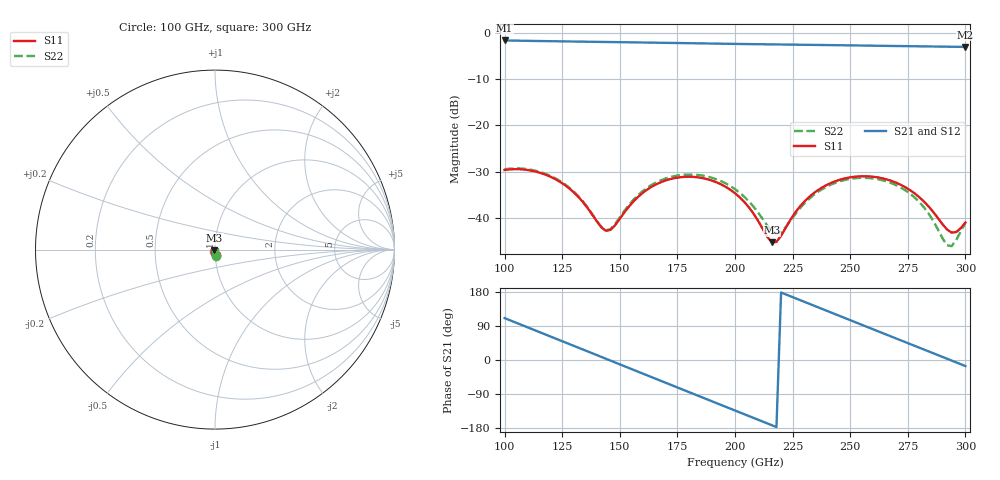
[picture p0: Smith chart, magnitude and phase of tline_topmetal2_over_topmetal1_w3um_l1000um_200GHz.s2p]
#  GHZ S DB R 50
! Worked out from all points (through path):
!   101 points, 100 GHz to 300 GHz, reference 50 ohm
!   highest |S21| = -1.65 dB at 100 GHz (marker M1); lowest = -3.0 dB at 300 GHz (marker M2)
!   group delay of S21, straight-line fit = 6.76 ps
!   lowest |S11| = -45.3 dB at 216 GHz (marker M3), VSWR 1.01, Z = 49.6 - j0.395 ohm
!   |S11| at or under -10 dB: start of sweep to end of sweep
!   |S22| runs from -46.1 to -29.3 dB; largest |S21 - S12| = 9e-14
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100  -29.67 -82.4  -1.65 110.6  -1.65 110.6  -29.51 -82.3
108  -29.54 -100.7  -1.71 91.1  -1.71 91.1  -29.38 -100.5
116  -30.36 -118.2  -1.78 71.5  -1.78 71.5  -30.19 -118.0
126  -32.87 -137.4  -1.85 47.1  -1.85 47.1  -32.70 -137.2
134  -36.60 -146.1  -1.91 27.6  -1.91 27.6  -36.46 -145.8
144  -42.81 -115.2  -1.98 3.2  -1.98 3.2  -42.71 -113.5
156  -36.42 -77.2  -2.06 -26.1  -2.06 -26.1  -36.06 -75.7
168  -32.26 -94.5  -2.15 -55.4  -2.15 -55.4  -31.86 -93.1
184  -31.26 -127.8  -2.27 -94.4  -2.27 -94.4  -30.74 -126.1
200  -34.69 -158.9  -2.39 -133.3  -2.39 -133.3  -33.80 -156.5
206  -37.72 -165.5  -2.43 -147.8  -2.43 -147.8  -36.44 -163.1
216  -45.31 -132.9  -2.50 -172.1  -2.50 -172.1  -42.86 -142.9
220  -43.91 -98.5  -2.52 178.2  -2.52 178.2  -43.08 -115.1
226  -38.96 -83.4  -2.56 163.6  -2.56 163.6  -39.32 -93.2
234  -34.74 -89.8  -2.61 144.1  -2.61 144.1  -35.14 -95.0
244  -32.02 -106.9  -2.67 119.8  -2.67 119.8  -32.36 -110.3
252  -31.12 -122.6  -2.73 100.4  -2.73 100.4  -31.45 -125.4
268  -32.04 -153.7  -2.84 61.5  -2.84 61.5  -32.53 -156.8
280  -35.55 -171.5  -2.92 32.5  -2.92 32.5  -36.60 -175.7
292  -42.52 -155.6  -2.99 3.4  -2.99 3.4  -45.93 -147.4
294  -43.20 -143.3  -3.01 -1.5  -3.01 -1.5  -46.14 -126.2
300  -41.03 -110.6  -3.04 -16.0  -3.04 -16.0  -41.07 -92.6
